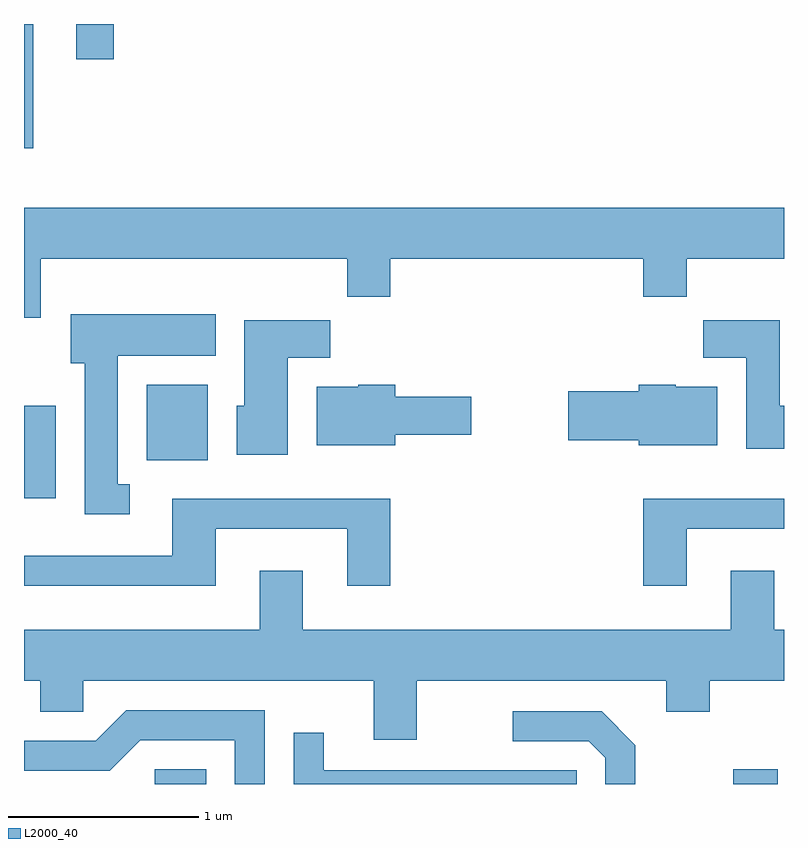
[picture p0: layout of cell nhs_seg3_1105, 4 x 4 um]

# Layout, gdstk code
import gdstk
lib = gdstk.Library(unit=1e-6, precision=1e-09)
def R(c, l, rs):  # rectangles x0, y0, x1, y1
    for r in rs: c.add(gdstk.rectangle(r[:2], r[2:], *l))
def P(c, l, *ps):  # polygons
    for p in ps: c.add(gdstk.Polygon(p, *l))
L2000_40 = (2000, 40)

nhs_seg3_1105 = lib.new_cell('nhs_seg3_1105')
R(nhs_seg3_1105, L2000_40, [(218.298,1149.892,218.569,1149.969), (221.343,1149.892,221.579,1149.969), (217.611,1151.396,217.779,1151.884), (218.256,1151.596,218.579,1151.994), (217.611,1153.238,217.659,1153.892), (217.886,1153.706,218.084,1153.892)])
P(nhs_seg3_1105, L2000_40, [(217.699,1152.656),(219.311,1152.656),(219.311,1152.456),(219.539,1152.456),(219.539,1152.656),(220.871,1152.656),(220.871,1152.456),(221.099,1152.456),(221.099,1152.656),(221.611,1152.656),(221.611,1152.924),(217.611,1152.924),(217.611,1152.346),(217.699,1152.346)],
  [(218.168,1151.469),(218.104,1151.469),(218.104,1152.146),(218.619,1152.146),(218.619,1152.364),(217.856,1152.364),(217.856,1152.106),(217.931,1152.106),(217.931,1151.311),(218.168,1151.311)],
  [(218.999,1152.136),(219.224,1152.136),(219.224,1152.334),(218.771,1152.334),(218.771,1151.884),(218.731,1151.884),(218.731,1151.626),(218.999,1151.626)],
  [(221.611,1151.884),(221.589,1151.884),(221.589,1152.334),(221.186,1152.334),(221.186,1152.136),(221.411,1152.136),(221.411,1151.656),(221.611,1151.656)],
  [(221.259,1151.984),(221.04,1151.984),(221.04,1151.994),(220.846,1151.994),(220.846,1151.959),(220.476,1151.959),(220.476,1151.701),(220.846,1151.701),(220.846,1151.676),(221.259,1151.676)],
  [(219.564,1151.731),(219.964,1151.731),(219.964,1151.929),(219.564,1151.929),(219.564,1151.994),(219.37,1151.994),(219.37,1151.984),(219.151,1151.984),(219.151,1151.676),(219.564,1151.676)],
  [(221.099,1151.236),(221.611,1151.236),(221.611,1151.394),(220.871,1151.394),(220.871,1150.936),(221.099,1150.936)],
  [(218.619,1151.236),(219.311,1151.236),(219.311,1150.936),(219.539,1150.936),(219.539,1151.394),(218.391,1151.394),(218.391,1151.094),(217.611,1151.094),(217.611,1150.936),(218.619,1150.936)],
  [(219.679,1150.436),(220.991,1150.436),(220.991,1150.271),(221.219,1150.271),(221.219,1150.436),(221.611,1150.436),(221.611,1150.704),(221.559,1150.704),(221.559,1151.014),(221.331,1151.014),(221.331,1150.704),(219.079,1150.704),(219.079,1151.014),(218.851,1151.014),(218.851,1150.704),(217.611,1150.704),(217.611,1150.436),(217.696,1150.436),(217.696,1150.271),(217.924,1150.271),(217.924,1150.436),(219.451,1150.436),(219.451,1150.126),(219.679,1150.126)],
  [(218.879,1150.279),(218.149,1150.279),(217.989,1150.119),(217.611,1150.119),(217.611,1149.961),(218.062,1149.961),(218.222,1150.121),(218.721,1150.121),(218.721,1149.892),(218.879,1149.892)],
  [(220.829,1150.097),(220.652,1150.274),(220.183,1150.274),(220.183,1150.116),(220.584,1150.116),(220.671,1150.029),(220.671,1149.892),(220.829,1149.892)],
  [(220.519,1149.964),(219.189,1149.964),(219.189,1150.163),(219.031,1150.163),(219.031,1149.892),(220.519,1149.892)])

lib.write_gds('nhs_seg3_1105.gds')
